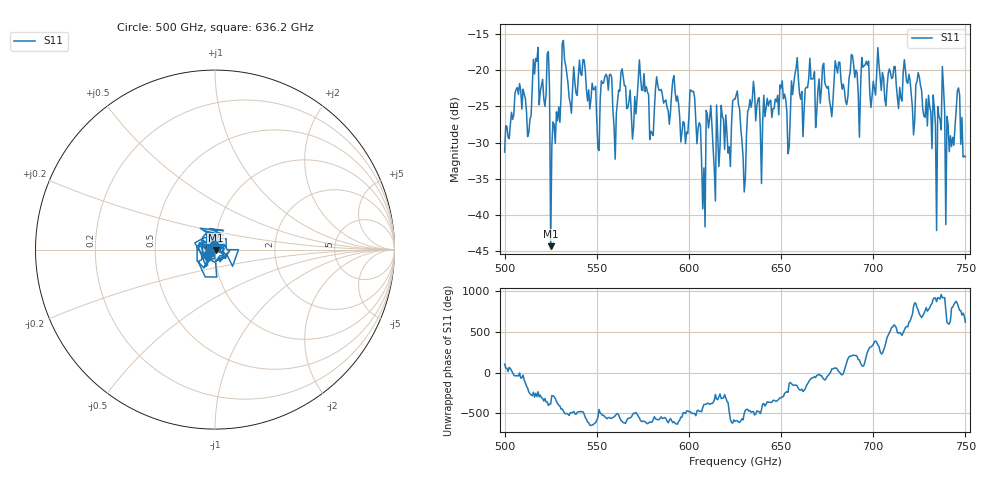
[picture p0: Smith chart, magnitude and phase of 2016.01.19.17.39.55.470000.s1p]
!Created with skrf (http://scikit-rf.org).
# GHz S RI R 50.0
!freq ReS11 ImS11
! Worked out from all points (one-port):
!   401 points, 500 GHz to 750 GHz, reference 50 ohm
!   lowest |S11| = -44.4 dB at 525 GHz (marker M1), VSWR 1.01, Z = 50.5 - j0.265 ohm
!   |S11| at or under -10 dB: start of sweep to end of sweep
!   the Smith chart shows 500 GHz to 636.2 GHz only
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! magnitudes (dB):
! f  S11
! 500 GHz  -31.3
! 506.9 GHz  -22.4
! 513.1 GHz  -28.6
! 516.9 GHz  -18.3
! 523.1 GHz  -17.7
! 525 GHz  -44.4
! 526.2 GHz  -27.1
! 531.2 GHz  -16.3
! 550.6 GHz  -30.8
! 562.5 GHz  -22.9
! 580 GHz  -28.7
! 583.1 GHz  -22.1
! 593.8 GHz  -23.5
! 601.9 GHz  -23.0
! 607.5 GHz  -39.2
! 610.6 GHz  -28.0
! 615 GHz  -24.8
! 625 GHz  -24.0
! 630 GHz  -36.9
! 634.4 GHz  -24.1
! 656.2 GHz  -23.3
! 687.5 GHz  -20.2
! 718.8 GHz  -21.8
! 733.1 GHz  -25.1
! 737.5 GHz  -19.5
! 740.6 GHz  -27.5
! 745.6 GHz  -22.9
! 750 GHz  -32.0
